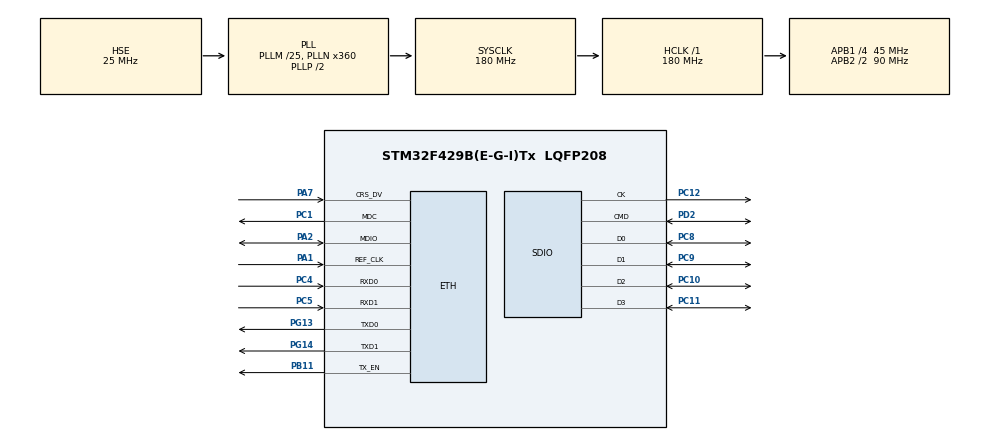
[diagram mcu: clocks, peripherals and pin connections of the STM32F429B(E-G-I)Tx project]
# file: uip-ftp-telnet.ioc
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Dma.Request0=SDIO_RX
Dma.Request1=SDIO_TX
Dma.SDIO_RX.0.Direction=DMA_PERIPH_TO_MEMORY
Dma.SDIO_RX.0.FIFOMode=DMA_FIFOMODE_ENABLE
Dma.SDIO_RX.0.FIFOThreshold=DMA_FIFO_THRESHOLD_FULL
Dma.SDIO_RX.0.Instance=DMA2_Stream3
Dma.SDIO_RX.0.MemBurst=DMA_MBURST_INC4
Dma.SDIO_RX.0.MemDataAlignment=DMA_MDATAALIGN_WORD
Dma.SDIO_RX.0.MemInc=DMA_MINC_ENABLE
Dma.SDIO_RX.0.Mode=DMA_PFCTRL
Dma.SDIO_RX.0.PeriphBurst=DMA_PBURST_INC4
Dma.SDIO_RX.0.PeriphDataAlignment=DMA_PDATAALIGN_WORD
Dma.SDIO_RX.0.PeriphInc=DMA_PINC_DISABLE
Dma.SDIO_RX.0.Priority=DMA_PRIORITY_LOW
Dma.SDIO_TX.1.Direction=DMA_MEMORY_TO_PERIPH
Dma.SDIO_TX.1.FIFOMode=DMA_FIFOMODE_ENABLE
Dma.SDIO_TX.1.FIFOThreshold=DMA_FIFO_THRESHOLD_FULL
Dma.SDIO_TX.1.Instance=DMA2_Stream6
Dma.SDIO_TX.1.MemBurst=DMA_MBURST_INC4
Dma.SDIO_TX.1.MemDataAlignment=DMA_MDATAALIGN_WORD
Dma.SDIO_TX.1.MemInc=DMA_MINC_ENABLE
Dma.SDIO_TX.1.Mode=DMA_PFCTRL
Dma.SDIO_TX.1.PeriphBurst=DMA_PBURST_INC4
Dma.SDIO_TX.1.PeriphDataAlignment=DMA_PDATAALIGN_WORD
Dma.SDIO_TX.1.PeriphInc=DMA_PINC_DISABLE
Dma.SDIO_TX.1.Priority=DMA_PRIORITY_LOW
ETH.MediaInterface=ETH_MEDIA_INTERFACE_RMII
ETH.PHY_DUPLEX_STATUS=0x0010
ETH.PHY_Name_RMII=userPHY
ETH.PHY_SPEED_STATUS=0x0004
ETH.PHY_SR=31
ETH.PHY_User_Name=LAN8720
ETH.PhyAddress=1
FATFS._CODE_PAGE=936
Mcu.Family=STM32F4
Mcu.Name=STM32F429B(E-G-I)Tx
Mcu.Package=LQFP208
NVIC.DMA2_Stream3_IRQn=true\:0\:0\:false\:false\:true\:false
NVIC.DMA2_Stream6_IRQn=true\:0\:0\:false\:false\:true\:false
NVIC.PriorityGroup=NVIC_PRIORITYGROUP_4
NVIC.SDIO_IRQn=true\:0\:0\:false\:false\:true\:true
PA1.Mode=RMII
PA1.Signal=ETH_REF_CLK
PA13.Mode=Serial_Wire
PA13.Signal=SYS_JTMS-SWDIO
PA14.Mode=Serial_Wire
PA14.Signal=SYS_JTCK-SWCLK
PA2.Mode=RMII
PA2.Signal=ETH_MDIO
PA7.Mode=RMII
PA7.Signal=ETH_CRS_DV
PB11.Mode=RMII
PB11.Signal=ETH_TX_EN
PC1.Mode=RMII
PC1.Signal=ETH_MDC
PC10.Mode=SD_4_bits_Wide_bus
PC10.Signal=SDIO_D2
PC11.Mode=SD_4_bits_Wide_bus
PC11.Signal=SDIO_D3
PC12.Mode=SD_4_bits_Wide_bus
PC12.Signal=SDIO_CK
PC4.Mode=RMII
PC4.Signal=ETH_RXD0
PC5.Mode=RMII
PC5.Signal=ETH_RXD1
PC8.Mode=SD_4_bits_Wide_bus
PC8.Signal=SDIO_D0
PC9.Mode=SD_4_bits_Wide_bus
PC9.Signal=SDIO_D1
PD2.Mode=SD_4_bits_Wide_bus
PD2.Signal=SDIO_CMD
PG13.Mode=RMII
PG13.Signal=ETH_TXD0
PG14.Mode=RMII
PG14.Signal=ETH_TXD1
PH0/OSC_IN.Mode=HSE-External-Oscillator
PH0/OSC_IN.Signal=RCC_OSC_IN
PH1/OSC_OUT.Mode=HSE-External-Oscillator
PH1/OSC_OUT.Signal=RCC_OSC_OUT
ProjectManager.HeapSize=0x400
ProjectManager.StackSize=0x800
ProjectManager.TargetToolchain=MDK-ARM V5
RCC.48MHZClocksFreq_Value=45000000
RCC.AHBFreq_Value=180000000
RCC.APB1CLKDivider=RCC_HCLK_DIV4
RCC.APB1Freq_Value=45000000
RCC.APB1TimFreq_Value=90000000
RCC.APB2CLKDivider=RCC_HCLK_DIV2
RCC.APB2Freq_Value=90000000
RCC.APB2TimFreq_Value=180000000
RCC.CortexFreq_Value=180000000
RCC.HCLKFreq_Value=180000000
RCC.HSE_VALUE=25000000
RCC.HSI_VALUE=16000000
RCC.LSE_VALUE=32768
RCC.PLLM=25
RCC.PLLN=360
RCC.PLLQ=8
RCC.PLLSourceVirtual=RCC_PLLSOURCE_HSE
RCC.SYSCLKFreq_VALUE=180000000
RCC.SYSCLKSource=RCC_SYSCLKSOURCE_PLLCLK
RCC.VCOOutputFreq_Value=360000000
SDIO.ClockDiv=2
VP_FATFS_VS_SDIO.Mode=SDIO
board=custom

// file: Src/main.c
/**
  ******************************************************************************
  * @file           : main.c
  * @brief          : Main program body
  ******************************************************************************
  ** This notice applies to any and all portions of this file
  * that are not between comment pairs USER CODE BEGIN and
  * USER CODE END. Other portions of this file, whether
  * inserted by the user or by software development tools
  * are owned by their respective copyright owners.
  *
  * COPYRIGHT(c) 2018 STMicroelectronics
  *
  * Redistribution and use in source and binary forms, with or without modification,
  * are permitted provided that the following conditions are met:
  *   1. Redistributions of source code must retain the above copyright notice,
  *      this list of conditions and the following disclaimer.
  *   2. Redistributions in binary form must reproduce the above copyright notice,
  *      this list of conditions and the following disclaimer in the documentation
  *      and/or other materials provided with the distribution.
  *   3. Neither the name of STMicroelectronics nor the names of its contributors
  *      may be used to endorse or promote products derived from this software
  *      without specific prior written permission.
  *
  * THIS SOFTWARE IS PROVIDED BY THE COPYRIGHT HOLDERS AND CONTRIBUTORS "AS IS"
  * AND ANY EXPRESS OR IMPLIED WARRANTIES, INCLUDING, BUT NOT LIMITED TO, THE
  * IMPLIED WARRANTIES OF MERCHANTABILITY AND FITNESS FOR A PARTICULAR PURPOSE ARE
  * DISCLAIMED. IN NO EVENT SHALL THE COPYRIGHT HOLDER OR CONTRIBUTORS BE LIABLE
  * FOR ANY DIRECT, INDIRECT, INCIDENTAL, SPECIAL, EXEMPLARY, OR CONSEQUENTIAL
  * DAMAGES (INCLUDING, BUT NOT LIMITED TO, PROCUREMENT OF SUBSTITUTE GOODS OR
  * SERVICES; LOSS OF USE, DATA, OR PROFITS; OR BUSINESS INTERRUPTION) HOWEVER
  * CAUSED AND ON ANY THEORY OF LIABILITY, WHETHER IN CONTRACT, STRICT LIABILITY,
  * OR TORT (INCLUDING NEGLIGENCE OR OTHERWISE) ARISING IN ANY WAY OUT OF THE USE
  * OF THIS SOFTWARE, EVEN IF ADVISED OF THE POSSIBILITY OF SUCH DAMAGE.
  *
  ******************************************************************************
  */
#include "main.h"
#include "stm32f4xx_hal.h"
#include "dma.h"
#include "eth.h"
#include "fatfs.h"
#include "sdio.h"
#include "gpio.h"

/* USER CODE BEGIN Includes */
#include "AtomROS.h"
#include "shell.h"
#include "serial_hal.h"
#include "serial_console.h"

#include "uip.h"
#include "tapdev.h"
#include "timer.h"
#include "tapdev.h"
#include "uip_arp.h"
/* USER CODE END Includes */

/* USER CODE BEGIN PV */
/* Private variables ---------------------------------------------------------*/

/* USER CODE END PV */

void SystemClock_Config(void);

/* USER CODE BEGIN PFP */
/* Private function prototypes -----------------------------------------------*/

/* USER CODE END PFP */

/* USER CODE BEGIN 0 */

#define BUF ((struct uip_eth_hdr *)&uip_buf[0])

uip_ipaddr_t ipaddr;
struct uip_eth_addr ethaddr;
struct timer periodic_timer,arp_timer;

// 控制台图标
const static char stm32_logo[]=
"\r\n\
	 ____  _____  __  __  ____  ____\r\n\
	/ ___||__ __||  \\/  ||___ \\|___ \\COPYRIGHT(c):\r\n\
	\\___ \\  | |  | |\\/| | |__ |/ ___/GoodMorning\r\n\
	|____/  |_|  |_|  |_||____/\\____|2018/09\r\n";

void vShell_GetLocalIp(void * arg)
{
	printk("ip:%d.%d.%d.%d\r\n",uip_hostaddr[0]&0x00ff,uip_hostaddr[0]>>8,uip_hostaddr[1]&0x00ff,uip_hostaddr[1]>>8);
}

void uip_base_init(void)
{
	tapdev_init();
	uip_init();
	uip_arp_init();

	ethaddr.addr[0] = 0x00;
	ethaddr.addr[1] = 0x80;
	ethaddr.addr[2] = 0xE1;
	ethaddr.addr[3] = 0x00;
	ethaddr.addr[4] = 0x00;
	ethaddr.addr[5] = 0x00;

	uip_setethaddr(ethaddr);

	uip_ipaddr(ipaddr, 192,168,3,123);
	uip_sethostaddr(ipaddr);
	uip_ipaddr(ipaddr, 192,168,3,1);
	uip_setdraddr(ipaddr);
	uip_ipaddr(ipaddr, 255,255,255,0);
	uip_setnetmask(ipaddr);

	timer_set(&periodic_timer, CLOCK_SECOND / 2);
	timer_set(&arp_timer, CLOCK_SECOND * 10);

	shell_register_command("ifconfig",vShell_GetLocalIp);
}

void uip_base_poll(void)
{
	uip_len = tapdev_read();
	if(uip_len > 0)
	{
		if(BUF->type == htons(UIP_ETHTYPE_IP))
		{
			//Debug_Here;
			uip_arp_ipin();
			uip_input();
			/* If the above function invocation resulted in data that
			should be sent out on the network, the global variable
			uip_len is set to a value > 0. */
			if(uip_len > 0) {
				uip_arp_out();
				tapdev_send();
			}
		}
		else
		if(BUF->type == htons(UIP_ETHTYPE_ARP))
		{
			//printk("htons(UIP_ETHTYPE_ARP)\r\n");
			uip_arp_arpin();
			/* If the above function invocation resulted in data that
			should be sent out on the network, the global variable
			uip_len is set to a value > 0. */
			if(uip_len > 0) tapdev_send();
		}
	}
	else
	if(timer_expired(&periodic_timer))
	{
		timer_reset(&periodic_timer);
		for(int i = 0; i < UIP_CONNS; i++)
		{
			uip_periodic(i);
			/* If the above function invocation resulted in data that
			should be sent out on the network, the global variable
			uip_len is set to a value > 0. */
			if(uip_len > 0)
			{
				uip_arp_out();
				tapdev_send();
			}
		}

		#if UIP_UDP
			//处理udp超时程序
			for(int i = 0; i < UIP_UDP_CONNS; i++)
			{
				uip_udp_periodic(i);
				if(uip_len > 0)
				{
					uip_arp_out();
					tapdev_send();
				}
			}
		#endif /* UIP_UDP */

		/* Call the ARP timer function every 10 seconds. */
		if(timer_expired(&arp_timer))
		{
			timer_reset(&arp_timer);
			uip_arp_timer();
			color_printk(yellow,"time to update arp\r\n");
		}
	}
}

ros_task_t led_rostask;

int task_LED(void *arg)
{
	TASK_BEGIN();

	ioctrl(LED1,0);
	ioctrl(LED2,0);

	while(1)
	{
		task_sleep(1350);
		vLED1_Loop();
		//printk("1350ms print test\r\n");
	}

	TASK_END();
}

/* USER CODE END 0 */

int main(void)
{
  /* USER CODE BEGIN 1 */

  /* 如果动用了 sd 卡 ，初始化引脚要设为上拉 */
  /* 如果动用了  fatfs ，在 f_write  的时候，所传入的缓冲区指着需要 4 字节对齐，否则容易出错*/
  /* 在 uip-conf.h 添加 UIP_CONF_HARDWARE_CHECKSUMS 宏 ，修改 uip.c 1000 行代码 */
  SCB->VTOR = FLASH_BASE|0x20000;
  __enable_irq();//打开总中断
  /* USER CODE END 1 */

  /* MCU Configuration----------------------------------------------------------*/

  /* Reset of all peripherals, Initializes the Flash interface and the Systick. */
  HAL_Init();

  /* Configure the system clock */
  SystemClock_Config();

  /* Initialize all configured peripherals */
  MX_GPIO_Init();
  MX_DMA_Init();
  MX_SDIO_SD_Init();
  MX_FATFS_Init();
  /* USER CODE BEGIN 2 */
	shell_init("uIP >",serial_puts);
	serial_console_init((char *)stm32_logo);

	uip_base_init();
	uip_app_init();

	ioctrl(LED2,1);
	task_create(&led_rostask,NULL,task_LED,NULL);

  /* USER CODE END 2 */

  /* Infinite loop */
  /* USER CODE BEGIN WHILE */
  while (1)
  {
	uip_base_poll();
	uip_app_poll();
	OS_scheduler();
  /* USER CODE END WHILE */

  }

}

void SystemClock_Config(void)
{

  RCC_OscInitTypeDef RCC_OscInitStruct;
  RCC_ClkInitTypeDef RCC_ClkInitStruct;

    /**Configure the main internal regulator output voltage
    */
  __HAL_RCC_PWR_CLK_ENABLE();

  __HAL_PWR_VOLTAGESCALING_CONFIG(PWR_REGULATOR_VOLTAGE_SCALE1);

    /**Initializes the CPU, AHB and APB busses clocks
    */
  RCC_OscInitStruct.OscillatorType = RCC_OSCILLATORTYPE_HSE;
  RCC_OscInitStruct.HSEState = RCC_HSE_ON;
  RCC_OscInitStruct.PLL.PLLState = RCC_PLL_ON;
  RCC_OscInitStruct.PLL.PLLSource = RCC_PLLSOURCE_HSE;
  RCC_OscInitStruct.PLL.PLLM = 25;
  RCC_OscInitStruct.PLL.PLLN = 360;
  RCC_OscInitStruct.PLL.PLLP = RCC_PLLP_DIV2;
  RCC_OscInitStruct.PLL.PLLQ = 4;
  if (HAL_RCC_OscConfig(&RCC_OscInitStruct) != HAL_OK)
  {
    _Error_Handler(__FILE__, __LINE__);
  }

    /**Activate the Over-Drive mode
    */
  if (HAL_PWREx_EnableOverDrive() != HAL_OK)
  {
    _Error_Handler(__FILE__, __LINE__);
  }

    /**Initializes the CPU, AHB and APB busses clocks
    */
  RCC_ClkInitStruct.ClockType = RCC_CLOCKTYPE_HCLK|RCC_CLOCKTYPE_SYSCLK
                              |RCC_CLOCKTYPE_PCLK1|RCC_CLOCKTYPE_PCLK2;
  RCC_ClkInitStruct.SYSCLKSource = RCC_SYSCLKSOURCE_PLLCLK;
  RCC_ClkInitStruct.AHBCLKDivider = RCC_SYSCLK_DIV1;
  RCC_ClkInitStruct.APB1CLKDivider = RCC_HCLK_DIV4;
  RCC_ClkInitStruct.APB2CLKDivider = RCC_HCLK_DIV2;

  if (HAL_RCC_ClockConfig(&RCC_ClkInitStruct, FLASH_LATENCY_5) != HAL_OK)
  {
    _Error_Handler(__FILE__, __LINE__);
  }

    /**Configure the Systick interrupt time
    */
  HAL_SYSTICK_Config(HAL_RCC_GetHCLKFreq()/1000);

    /**Configure the Systick
    */
  HAL_SYSTICK_CLKSourceConfig(SYSTICK_CLKSOURCE_HCLK);

  /* SysTick_IRQn interrupt configuration */
  HAL_NVIC_SetPriority(SysTick_IRQn, 0, 0);
}

void _Error_Handler(char *file, int line)
{
  while(1)
  {
  }
}

/************************ (C) COPYRIGHT STMicroelectronics *****END OF FILE****/
